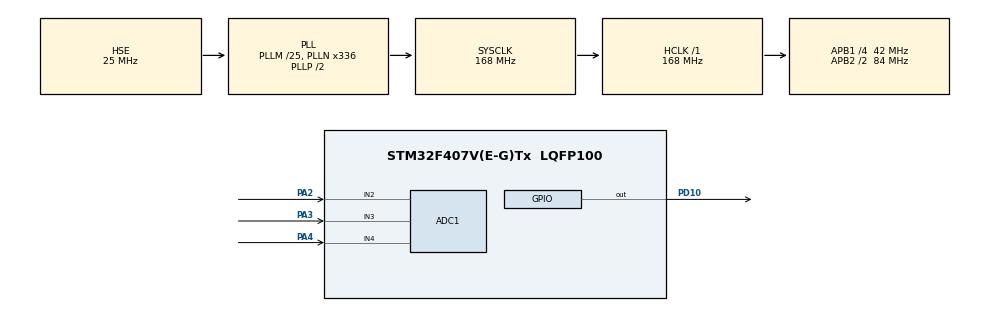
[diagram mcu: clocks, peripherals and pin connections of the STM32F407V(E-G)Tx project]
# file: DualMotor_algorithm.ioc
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ADC1.Channel-0\#ChannelRegularConversion=ADC_CHANNEL_2
ADC1.Channel-1\#ChannelRegularConversion=ADC_CHANNEL_3
ADC1.Channel-2\#ChannelRegularConversion=ADC_CHANNEL_4
ADC1.ContinuousConvMode=ENABLE
ADC1.DMAContinuousRequests=ENABLE
ADC1.NbrOfConversion=3
ADC1.NbrOfConversionFlag=1
ADC1.Rank-0\#ChannelRegularConversion=1
ADC1.Rank-1\#ChannelRegularConversion=2
ADC1.Rank-2\#ChannelRegularConversion=3
ADC1.SamplingTime-0\#ChannelRegularConversion=ADC_SAMPLETIME_144CYCLES
ADC1.SamplingTime-1\#ChannelRegularConversion=ADC_SAMPLETIME_144CYCLES
ADC1.SamplingTime-2\#ChannelRegularConversion=ADC_SAMPLETIME_144CYCLES
ADC1.ScanConvMode=ENABLE
ADC1.master=1
Dma.ADC1.0.Direction=DMA_PERIPH_TO_MEMORY
Dma.ADC1.0.FIFOMode=DMA_FIFOMODE_DISABLE
Dma.ADC1.0.Instance=DMA2_Stream0
Dma.ADC1.0.MemDataAlignment=DMA_MDATAALIGN_HALFWORD
Dma.ADC1.0.MemInc=DMA_MINC_ENABLE
Dma.ADC1.0.Mode=DMA_CIRCULAR
Dma.ADC1.0.PeriphDataAlignment=DMA_PDATAALIGN_HALFWORD
Dma.ADC1.0.PeriphInc=DMA_PINC_DISABLE
Dma.ADC1.0.Priority=DMA_PRIORITY_LOW
Dma.Request0=ADC1
Mcu.Family=STM32F4
Mcu.Name=STM32F407V(E-G)Tx
Mcu.Package=LQFP100
NVIC.DMA2_Stream0_IRQn=true\:0\:0\:false\:false\:true\:false\:true
NVIC.PriorityGroup=NVIC_PRIORITYGROUP_4
NVIC.TIM2_IRQn=true\:0\:0\:false\:false\:true\:true\:true
PA2.Signal=ADCx_IN2
PA3.Signal=ADCx_IN3
PA4.Signal=ADCx_IN4
PD10.Signal=GPIO_Output
PH0-OSC_IN.Mode=HSE-External-Oscillator
PH0-OSC_IN.Signal=RCC_OSC_IN
PH1-OSC_OUT.Mode=HSE-External-Oscillator
PH1-OSC_OUT.Signal=RCC_OSC_OUT
ProjectManager.HeapSize=0x200
ProjectManager.StackSize=0x400
ProjectManager.TargetToolchain=MDK-ARM V5.27
RCC.48MHZClocksFreq_Value=84000000
RCC.AHBFreq_Value=168000000
RCC.APB1CLKDivider=RCC_HCLK_DIV4
RCC.APB1Freq_Value=42000000
RCC.APB1TimFreq_Value=84000000
RCC.APB2CLKDivider=RCC_HCLK_DIV2
RCC.APB2Freq_Value=84000000
RCC.APB2TimFreq_Value=168000000
RCC.CortexFreq_Value=168000000
RCC.HCLKFreq_Value=168000000
RCC.HSE_VALUE=25000000
RCC.HSI_VALUE=16000000
RCC.LSE_VALUE=32768
RCC.PLLM=25
RCC.PLLN=336
RCC.PLLSourceVirtual=RCC_PLLSOURCE_HSE
RCC.SYSCLKFreq_VALUE=168000000
RCC.SYSCLKSource=RCC_SYSCLKSOURCE_PLLCLK
RCC.VCOOutputFreq_Value=336000000
SH.ADCx_IN2.0=ADC1_IN2,IN2
SH.ADCx_IN3.0=ADC1_IN3,IN3
SH.ADCx_IN4.0=ADC1_IN4,IN4
TIM2.Period=5
TIM2.Prescaler=42000
TIM2.TIM_MasterOutputTrigger=TIM_TRGO_UPDATE
VP_TIM2_VS_ClockSourceINT.Mode=Internal
board=custom

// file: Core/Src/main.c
/* USER CODE BEGIN Header */
/**
  ******************************************************************************
  * @file           : main.c
  * @brief          : Main program body
  ******************************************************************************
  * @attention
  *
  * <h2><center>&copy; Copyright (c) 2021 STMicroelectronics.
  * All rights reserved.</center></h2>
  *
  * This software component is licensed by ST under BSD 3-Clause license,
  * the "License"; You may not use this file except in compliance with the
  * License. You may obtain a copy of the License at:
  *                        opensource.org/licenses/BSD-3-Clause
  *
  ******************************************************************************
  */
/* USER CODE END Header */
#include "main.h"
#include "adc.h"
#include "dma.h"
#include "tim.h"
#include "gpio.h"

/* USER CODE BEGIN PD */
#define RAD 180.0/3.14159
#define RAD_REC 3.14159/180.0
#define SPEED (double)adcArr[0]
#define STEER (double)adcArr[1]

#define MASS 300.0
/* USER CODE END PD */

/* USER CODE BEGIN PV */
//const
const double Cr=(300*180)/3.14159;
const double Cf=(300*180)/3.14159;
const double Lf=1.503*0.55;
const double Lr=1.503*0.45;
const double Iz=25.0;

//var
uint16_t adcArr[3];
double beta_diff_cur=0.0;
double beta_diff_pre=0.0;
double gamma_diff_cur=0.0;
double gamma_diff_pre=0.0;
double beta=0.0;
double gamma=0.0;

double a11_var;
double a12_var;
double a21_var;
double a22_var;
double b11_var;
double b12_var;

double steer_map=0.0;
double speed_map=0.0;

//time
double counter_cur=0;
double counter_pre=0;
double period=0;

//const double mass=300.0;

/* USER CODE END PV */

void SystemClock_Config(void);
/* USER CODE BEGIN PFP */
double map(double value,double inputL,double inputH,double outputL ,double outputH);
double a11(void);
double a12(void);
double a21(void);
double a22(void);
double b11(void);
double b12(void);
double beta_diff(void);
double gamma_diff(void);

/* USER CODE END PFP */

int main(void)
{

  /* MCU Configuration--------------------------------------------------------*/

  /* Reset of all peripherals, Initializes the Flash interface and the Systick. */
  HAL_Init();

  /* Configure the system clock */
  SystemClock_Config();

  /* Initialize all configured peripherals */
  MX_GPIO_Init();
  MX_DMA_Init();
  MX_ADC1_Init();
  MX_TIM2_Init();
  /* USER CODE BEGIN 2 */
	HAL_ADC_Start_DMA(&hadc1,(uint32_t*)adcArr,3);
	HAL_TIM_Base_Start_IT(&htim2);
  /* USER CODE END 2 */

  /* Infinite loop */
  while (1)
  {

  }
}

void SystemClock_Config(void)
{
  RCC_OscInitTypeDef RCC_OscInitStruct = {0};
  RCC_ClkInitTypeDef RCC_ClkInitStruct = {0};

  /** Configure the main internal regulator output voltage
  */
  __HAL_RCC_PWR_CLK_ENABLE();
  __HAL_PWR_VOLTAGESCALING_CONFIG(PWR_REGULATOR_VOLTAGE_SCALE1);
  /** Initializes the RCC Oscillators according to the specified parameters
  * in the RCC_OscInitTypeDef structure.
  */
  RCC_OscInitStruct.OscillatorType = RCC_OSCILLATORTYPE_HSE;
  RCC_OscInitStruct.HSEState = RCC_HSE_ON;
  RCC_OscInitStruct.PLL.PLLState = RCC_PLL_ON;
  RCC_OscInitStruct.PLL.PLLSource = RCC_PLLSOURCE_HSE;
  RCC_OscInitStruct.PLL.PLLM = 25;
  RCC_OscInitStruct.PLL.PLLN = 336;
  RCC_OscInitStruct.PLL.PLLP = RCC_PLLP_DIV2;
  RCC_OscInitStruct.PLL.PLLQ = 4;
  if (HAL_RCC_OscConfig(&RCC_OscInitStruct) != HAL_OK)
  {
    Error_Handler();
  }
  /** Initializes the CPU, AHB and APB buses clocks
  */
  RCC_ClkInitStruct.ClockType = RCC_CLOCKTYPE_HCLK|RCC_CLOCKTYPE_SYSCLK
                              |RCC_CLOCKTYPE_PCLK1|RCC_CLOCKTYPE_PCLK2;
  RCC_ClkInitStruct.SYSCLKSource = RCC_SYSCLKSOURCE_PLLCLK;
  RCC_ClkInitStruct.AHBCLKDivider = RCC_SYSCLK_DIV1;
  RCC_ClkInitStruct.APB1CLKDivider = RCC_HCLK_DIV4;
  RCC_ClkInitStruct.APB2CLKDivider = RCC_HCLK_DIV2;

  if (HAL_RCC_ClockConfig(&RCC_ClkInitStruct, FLASH_LATENCY_5) != HAL_OK)
  {
    Error_Handler();
  }
}

/* USER CODE BEGIN 4 */
void HAL_TIM_PeriodElapsedCallback(TIM_HandleTypeDef *htim)
{
  /* Prevent unused argument(s) compilation warning */
  UNUSED(htim);

  /* NOTE : This function should not be modified, when the callback is needed,
            the HAL_TIM_PeriodElapsedCallback could be implemented in the user file
   */
	HAL_GPIO_WritePin(GPIOD,GPIO_PIN_10,GPIO_PIN_SET);
	for(int i=0;i<1;++i){
		a11_var=a11();
		a12_var=a12();
		a21_var=a21();
		a22_var=a22();
		b11_var=b11();
		b12_var=b12();
		//speed_map=1;
		//steer_map=0.0872664626;
		speed_map=map((double)adcArr[0],0.0,4095.0,-20.0,20.0);
		steer_map=map((double)adcArr[1],0.0,4095.0,-30*RAD_REC,30*RAD_REC);
		beta_diff_cur=beta_diff();
		gamma_diff_cur = gamma_diff();
		counter_cur=HAL_GetTick();
		period = counter_cur-counter_pre;
		beta+=period*beta_diff()/1000;
		gamma+=period*gamma_diff()/1000;
		counter_pre=counter_cur;
	}
	HAL_GPIO_WritePin(GPIOD,GPIO_PIN_10,GPIO_PIN_RESET);

}

double map(double value, double inputL,double inputH,double outputL ,double outputH){

	double returnVal=(value-inputL)*(outputH-outputL)/(inputH-inputL)+outputL;
	if(returnVal>outputH){
		return outputH;
	}else {
		return returnVal;
	}
}

double a11(void){
	return -2*(Cr+Cf)/(MASS*speed_map);
}

double a12(void){
	return -1-2*(Lf*Cf-Lr*Cr)/(MASS*speed_map*speed_map);
}

double a21(void){
	return -2*(Lf*Cf-Lr*Cr)/Iz;
}

double a22(void){
	return -2*(Lf*Lf*Cf+Lr*Lr*Cr)/(Iz*speed_map);
}

double b11(void){
	return 2*Cf/(MASS*speed_map);
}

double b12(void){
	return 2*Lf*Cf/Iz;
}

double beta_diff(void){
	return a11()*beta+a12()*gamma+b11()*steer_map;
}

double gamma_diff(void){
	return a21()*beta+a22()*gamma+b12()*steer_map;
}

/* USER CODE END 4 */

void Error_Handler(void)
{
}

/************************ (C) COPYRIGHT STMicroelectronics *****END OF FILE****/
